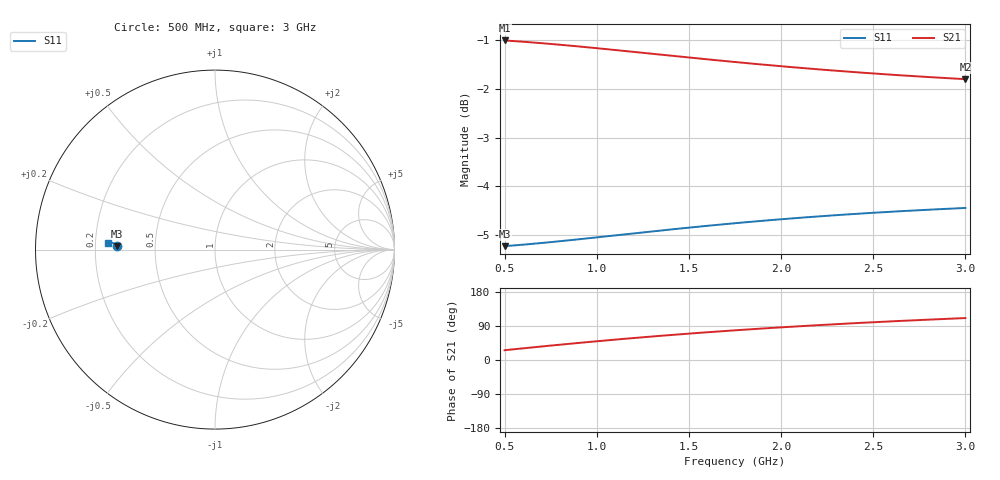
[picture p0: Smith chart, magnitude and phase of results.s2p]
! rfsim (KiCad + openEMS)
# HZ S RI R 50
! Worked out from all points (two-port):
!   251 points, 500 MHz to 3 GHz, reference 50 ohm
!   highest |S21| = -1.02 dB at 500 MHz (marker M1); lowest = -1.8 dB at 3 GHz (marker M2)
!   |S21| within 3 dB of the highest: start of sweep to end of sweep
!   lowest |S11| = -5.2 dB at 500 MHz (marker M3), VSWR 3.43, Z = 14.6 + j0.758 ohm
!   |S11| at or under -10 dB: nowhere
!   S12 and S22 are empty: the file has one direction only
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5e8  -0.548 0.0182  0.8006 0.388  0 0  0 0
6.1e8  -0.55 0.0216  0.7577 0.4607  0 0  0 0
7.1e8  -0.552 0.0244  0.7136 0.5212  0 0  0 0
8.2e8  -0.5545 0.0272  0.6609 0.5812  0 0  0 0
9.2e8  -0.5569 0.0295  0.6099 0.6296  0 0  0 0
1.02e9  -0.5594 0.0315  0.557 0.6721  0 0  0 0
1.13e9  -0.5621 0.0333  0.4975 0.7122  0 0  0 0
1.23e9  -0.5647 0.0348  0.4429 0.743  0 0  0 0
1.34e9  -0.5675 0.0361  0.383 0.7709  0 0  0 0
1.44e9  -0.57 0.037  0.3292 0.7912  0 0  0 0
1.54e9  -0.5725 0.0378  0.2765 0.8072  0 0  0 0
1.64e9  -0.5749 0.0384  0.2253 0.8192  0 0  0 0
1.75e9  -0.5774 0.0388  0.1707 0.8282  0 0  0 0
1.85e9  -0.5796 0.039  0.1231 0.8332  0 0  0 0
1.95e9  -0.5818 0.0391  0.0774 0.8354  0 0  0 0
2.06e9  -0.584 0.0391  0.0294 0.8349  0 0  0 0
2.17e9  -0.5862 0.039  -0.0162 0.832  0 0  0 0
2.27e9  -0.588 0.0388  -0.0555 0.8274  0 0  0 0
2.38e9  -0.5899 0.0385  -0.0964 0.8206  0 0  0 0
2.59e9  -0.5933 0.0377  -0.1681 0.8036  0 0  0 0
2.79e9  -0.5961 0.0367  -0.2291 0.7837  0 0  0 0
3e9  -0.5988 0.0356  -0.2862 0.7601  0 0  0 0
